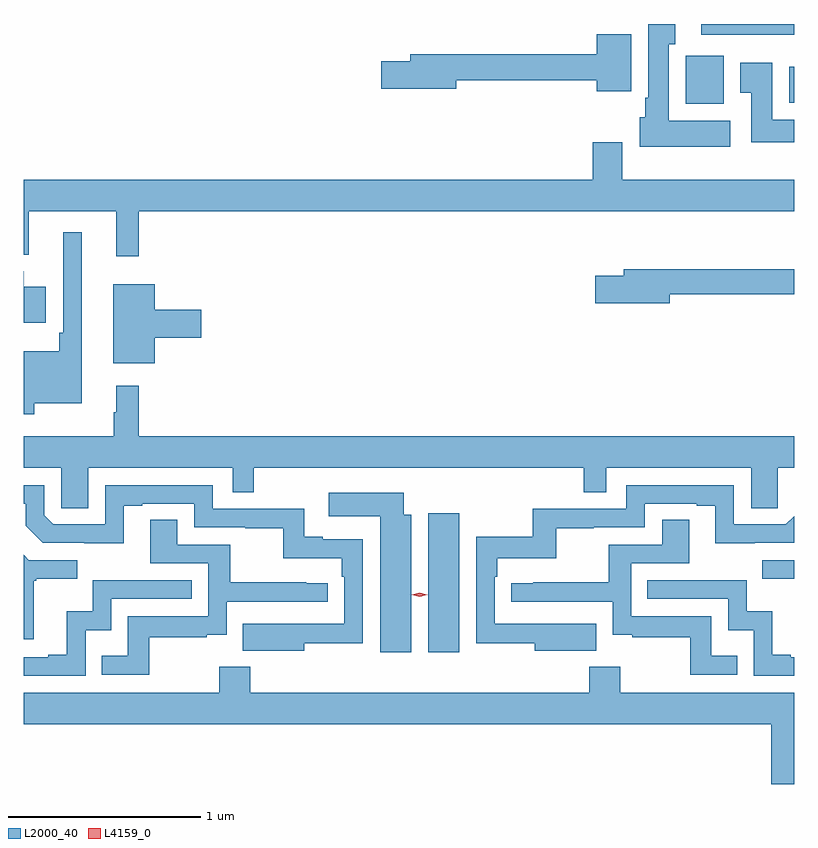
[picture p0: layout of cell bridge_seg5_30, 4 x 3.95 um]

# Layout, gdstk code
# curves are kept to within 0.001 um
import gdstk
lib = gdstk.Library(unit=1e-6, precision=1e-09)
def R(c, l, rs):  # rectangles x0, y0, x1, y1
    for r in rs: c.add(gdstk.rectangle(r[:2], r[2:], *l))
def P(c, l, *ps):  # polygons
    for p in ps: c.add(gdstk.Polygon(p, *l))
L2000_40 = (2000, 40)
L4159_0 = (4159, 0)

bridge_seg5_30 = lib.new_cell('bridge_seg5_30')
R(bridge_seg5_30, L2000_40, [(1120.622,835.824,1120.783,836.545), (1122.357,836.204,1122.523,836.301), (1121.961,838.67,1122.157,838.92), (1122.497,838.676,1122.523,838.864), (1122.041,839.03,1122.523,839.085)])
P(bridge_seg5_30, L2000_40, [(1122.19,838.582),(1121.872,838.582),(1121.872,838.979),(1121.905,838.979),(1121.905,839.085),(1121.765,839.085),(1121.765,838.702),(1121.75,838.702),(1121.75,838.602),(1121.72,838.602),(1121.72,838.448),(1122.19,838.448)],
  [(1121.677,839.032),(1121.498,839.032),(1121.498,838.928),(1120.529,838.928),(1120.529,838.892),(1120.38,838.892),(1120.38,838.75),(1120.768,838.75),(1120.768,838.792),(1121.498,838.792),(1121.498,838.736),(1121.677,838.736)],
  [(1122.523,838.588),(1122.409,838.588),(1122.409,838.885),(1122.242,838.885),(1122.242,838.729),(1122.299,838.729),(1122.299,838.47),(1122.523,838.47)],
  [(1119.119,838.112),(1122.523,838.112),(1122.523,838.276),(1121.629,838.276),(1121.629,838.471),(1121.477,838.471),(1121.477,838.276),(1118.523,838.276),(1118.523,837.887),(1118.549,837.887),(1118.549,838.112),(1119.002,838.112),(1119.002,837.879),(1119.119,837.879)],
  [(1118.578,837.116),(1118.824,837.116),(1118.824,838.003),(1118.727,838.003),(1118.727,837.481),(1118.707,837.481),(1118.707,837.385),(1118.523,837.385),(1118.523,837.059),(1118.578,837.059)],
  [(1121.878,837.682),(1122.523,837.682),(1122.523,837.811),(1121.639,837.811),(1121.639,837.777),(1121.49,837.777),(1121.49,837.635),(1121.878,837.635)],
  [(1118.638,837.721),(1118.524,837.721),(1118.524,837.802),(1118.523,837.802),(1118.523,837.533),(1118.638,837.533)],
  [(1119.202,837.455),(1119.445,837.455),(1119.445,837.602),(1119.202,837.602),(1119.202,837.733),(1118.987,837.733),(1118.987,837.323),(1119.202,837.323)],
  [(1118.857,836.78),(1119.609,836.78),(1119.609,836.653),(1119.718,836.653),(1119.718,836.78),(1121.431,836.78),(1121.431,836.653),(1121.547,836.653),(1121.547,836.78),(1122.299,836.78),(1122.299,836.572),(1122.438,836.572),(1122.438,836.78),(1122.523,836.78),(1122.523,836.944),(1119.119,836.944),(1119.119,837.208),(1119.002,837.208),(1119.002,837.068),(1118.991,837.068),(1118.991,836.944),(1118.523,836.944),(1118.523,836.78),(1118.718,836.78),(1118.718,836.572),(1118.857,836.572)],
  [(1121.495,835.972),(1120.968,835.971),(1120.968,836.216),(1120.982,836.216),(1120.982,836.312),(1121.287,836.312),(1121.287,836.467),(1121.483,836.467),(1121.483,836.472),(1121.748,836.472),(1121.748,836.595),(1122.017,836.595),(1122.017,836.583),(1122.113,836.583),(1122.113,836.39),(1122.523,836.391),(1122.523,836.53),(1122.48,836.487),(1122.21,836.487),(1122.21,836.691),(1121.652,836.691),(1121.652,836.568),(1121.166,836.568),(1121.166,836.422),(1120.872,836.422),(1120.872,835.87),(1121.177,835.87),(1121.177,835.832),(1121.495,835.832)],
  [(1119.979,835.87),(1120.284,835.87),(1120.284,836.409),(1120.075,836.409),(1120.075,836.422),(1119.978,836.422),(1119.978,836.568),(1119.504,836.568),(1119.504,836.691),(1118.946,836.691),(1118.946,836.487),(1118.676,836.487),(1118.628,836.535),(1118.628,836.691),(1118.523,836.691),(1118.523,836.595),(1118.532,836.595),(1118.532,836.481),(1118.622,836.391),(1119.043,836.39),(1119.043,836.583),(1119.139,836.583),(1119.139,836.595),(1119.408,836.595),(1119.408,836.472),(1119.673,836.472),(1119.673,836.467),(1119.87,836.467),(1119.87,836.312),(1120.175,836.312),(1120.175,836.216),(1120.188,836.216),(1120.188,835.971),(1119.661,835.972),(1119.661,835.832),(1119.979,835.832)],
  [(1120.534,836.536),(1120.495,836.536),(1120.495,836.65),(1120.107,836.65),(1120.107,836.528),(1120.373,836.528),(1120.373,835.824),(1120.534,835.824)],
  [(1122.227,835.804),(1122.093,835.804),(1122.093,836.01),(1121.676,836.01),(1121.676,836.286),(1121.977,836.286),(1121.977,836.51),(1121.837,836.51),(1121.837,836.382),(1121.56,836.382),(1121.56,836.186),(1121.167,836.186),(1121.167,836.181),(1121.055,836.181),(1121.055,836.085),(1121.58,836.085),(1121.58,835.913),(1121.683,835.913),(1121.683,835.902),(1121.982,835.902),(1121.982,835.707),(1122.227,835.707)],
  [(1119.175,835.902),(1119.473,835.902),(1119.473,835.913),(1119.576,835.913),(1119.576,836.085),(1120.102,836.085),(1120.102,836.181),(1119.989,836.181),(1119.989,836.186),(1119.596,836.186),(1119.596,836.382),(1119.319,836.382),(1119.319,836.51),(1119.179,836.51),(1119.179,836.286),(1119.48,836.286),(1119.48,836.01),(1119.064,836.01),(1119.064,835.804),(1118.929,835.804),(1118.929,835.707),(1119.175,835.707)],
  [(1118.575,836.193),(1118.587,836.193),(1118.587,836.204),(1118.8,836.204),(1118.8,836.301),(1118.55,836.301),(1118.523,836.328),(1118.523,835.89),(1118.575,835.89)],
  [(1122.523,835.797),(1122.505,835.797),(1122.505,835.81),(1122.409,835.81),(1122.409,836.035),(1122.276,836.035),(1122.276,836.196),(1121.761,836.196),(1121.761,836.1),(1122.18,836.1),(1122.18,835.937),(1122.312,835.937),(1122.312,835.701),(1122.523,835.701)],
  [(1118.844,835.937),(1118.976,835.937),(1118.976,836.1),(1119.395,836.1),(1119.395,836.196),(1118.88,836.196),(1118.88,836.035),(1118.747,836.035),(1118.747,835.81),(1118.651,835.81),(1118.651,835.797),(1118.523,835.797),(1118.523,835.701),(1118.844,835.701)],
  [(1122.523,835.612),(1121.619,835.612),(1121.619,835.747),(1121.459,835.747),(1121.459,835.612),(1119.698,835.612),(1119.698,835.747),(1119.538,835.747),(1119.538,835.612),(1118.523,835.612),(1118.523,835.448),(1122.404,835.448),(1122.404,835.139),(1122.523,835.139)])
P(bridge_seg5_30, L4159_0, [(1120.578,836.111),(1120.538,836.121),(1120.538,836.121),(1120.538,836.121),(1120.578,836.131),(1120.618,836.121),(1120.618,836.121),(1120.618,836.121)])

lib.write_gds('bridge_seg5_30.gds')
